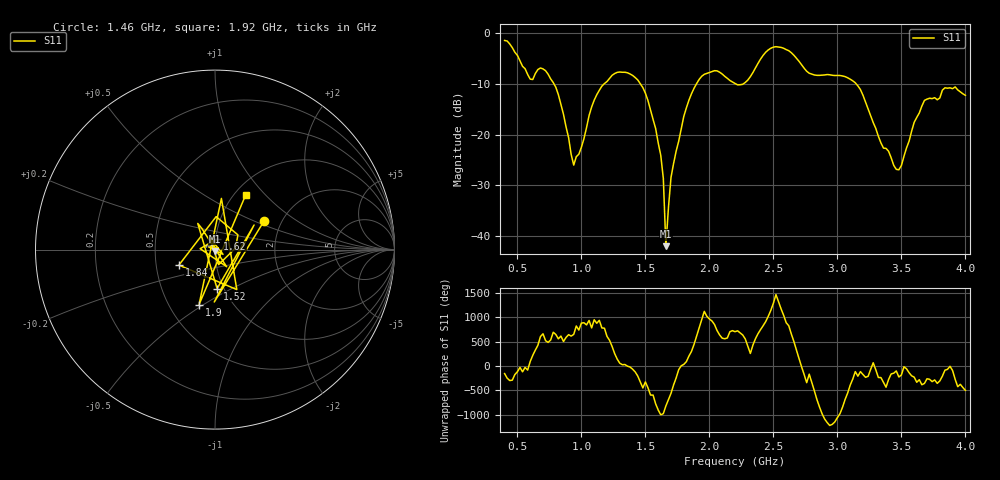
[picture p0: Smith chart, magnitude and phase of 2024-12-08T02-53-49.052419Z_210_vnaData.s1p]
!Created with skrf (http://scikit-rf.org).
# Hz S RI R 50.0
!freq ReS11 ImS11
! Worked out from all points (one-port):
!   181 points, 400 MHz to 4 GHz, reference 50 ohm
!   lowest |S11| = -42.0 dB at 1.66 GHz (marker M1), VSWR 1.02, Z = 49.9 - j0.781 ohm
!   |S11| at or under -10 dB: 786.4 MHz to 1.176 GHz (389.7 MHz wide, 39.7 % of centre); 1.462 GHz to 1.898 GHz (436.2 MHz wide, 26 % of centre); 3.148 GHz to end of sweep (the widest 3 of 4)
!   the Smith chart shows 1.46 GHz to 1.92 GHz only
!   S11 on the Smith chart (normalised r, x): 1.46 GHz: 1.63, +0.59; 1.52 GHz: 0.93, -0.42; 1.62 GHz: 1.02, +0.13; 1.84 GHz: 0.66, -0.12; 1.9 GHz: 0.70, -0.48; 1.92 GHz: 1.12, +0.79
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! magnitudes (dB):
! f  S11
! 400 MHz  -1.4
! 600 MHz  -9.0
! 720 MHz  -7.4
! 860 MHz  -16.0
! 940 MHz  -26.0
! 1.12 GHz  -12.1
! 1.3 GHz  -7.6
! 1.46 GHz  -9.9
! 1.52 GHz  -13.3
! 1.62 GHz  -24.1
! 1.64 GHz  -28.6
! 1.66 GHz  -42.0
! 1.7 GHz  -28.4
! 1.76 GHz  -21.3
! 1.84 GHz  -13.2
! 1.9 GHz  -9.9
! 1.92 GHz  -9.1
! 2.06 GHz  -7.4
! 2.2 GHz  -9.9
! 2.48 GHz  -2.9
! 2.66 GHz  -4.3
! 2.78 GHz  -7.9
! 3.1 GHz  -9.0
! 3.46 GHz  -26.8
! 3.56 GHz  -21.3
! 3.68 GHz  -13.2
! 3.84 GHz  -10.7
! 4 GHz  -12.2
